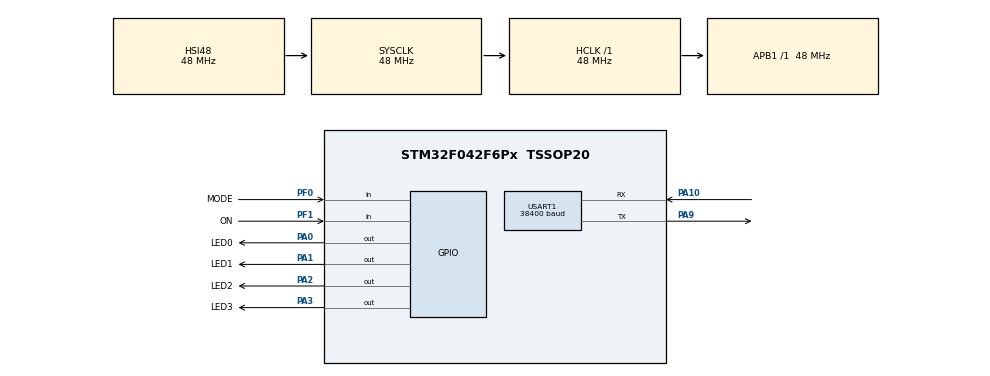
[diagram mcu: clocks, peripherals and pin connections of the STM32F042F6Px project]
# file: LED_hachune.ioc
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Mcu.Family=STM32F0
Mcu.Name=STM32F042F6Px
Mcu.Package=TSSOP20
PA0.GPIO_Label=LED0
PA0.GPIO_Speed=GPIO_SPEED_FREQ_HIGH
PA0.Signal=GPIO_Output
PA1.GPIO_Label=LED1
PA1.GPIO_Speed=GPIO_SPEED_FREQ_HIGH
PA1.Signal=GPIO_Output
PA10.Mode=Asynchronous
PA10.Signal=USART1_RX
PA13.Mode=Serial_Wire
PA13.Signal=SYS_SWDIO
PA14.Mode=Serial_Wire
PA14.Signal=SYS_SWCLK
PA2.GPIO_Label=LED2
PA2.GPIO_Speed=GPIO_SPEED_FREQ_HIGH
PA2.Signal=GPIO_Output
PA3.GPIO_Label=LED3
PA3.GPIO_Speed=GPIO_SPEED_FREQ_HIGH
PA3.Signal=GPIO_Output
PA9.Mode=Asynchronous
PA9.Signal=USART1_TX
PF0-OSC_IN.GPIO_Label=MODE
PF0-OSC_IN.GPIO_PuPd=GPIO_PULLUP
PF0-OSC_IN.Signal=GPIO_Input
PF1-OSC_OUT.GPIO_Label=ON
PF1-OSC_OUT.GPIO_PuPd=GPIO_PULLUP
PF1-OSC_OUT.Signal=GPIO_Input
ProjectManager.HeapSize=0x200
ProjectManager.StackSize=0x400
ProjectManager.TargetToolchain=TrueSTUDIO
RCC.AHBFreq_Value=48000000
RCC.APB1Freq_Value=48000000
RCC.APB1TimFreq_Value=48000000
RCC.HCLKFreq_Value=48000000
RCC.PLLSourceVirtual=RCC_PLLSOURCE_HSI48
RCC.SYSCLKFreq_VALUE=48000000
RCC.SYSCLKSource=RCC_SYSCLKSOURCE_HSI48
USART1.BaudRate=38400
USART1.VirtualMode=VM_ASYNC
board=custom

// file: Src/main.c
/**
  ******************************************************************************
  * @file           : main.c
  * @brief          : Main program body
  ******************************************************************************
  ** This notice applies to any and all portions of this file
  * that are not between comment pairs USER CODE BEGIN and
  * USER CODE END. Other portions of this file, whether
  * inserted by the user or by software development tools
  * are owned by their respective copyright owners.
  *
  * COPYRIGHT(c) 2019 STMicroelectronics
  *
  * Redistribution and use in source and binary forms, with or without modification,
  * are permitted provided that the following conditions are met:
  *   1. Redistributions of source code must retain the above copyright notice,
  *      this list of conditions and the following disclaimer.
  *   2. Redistributions in binary form must reproduce the above copyright notice,
  *      this list of conditions and the following disclaimer in the documentation
  *      and/or other materials provided with the distribution.
  *   3. Neither the name of STMicroelectronics nor the names of its contributors
  *      may be used to endorse or promote products derived from this software
  *      without specific prior written permission.
  *
  * THIS SOFTWARE IS PROVIDED BY THE COPYRIGHT HOLDERS AND CONTRIBUTORS "AS IS"
  * AND ANY EXPRESS OR IMPLIED WARRANTIES, INCLUDING, BUT NOT LIMITED TO, THE
  * IMPLIED WARRANTIES OF MERCHANTABILITY AND FITNESS FOR A PARTICULAR PURPOSE ARE
  * DISCLAIMED. IN NO EVENT SHALL THE COPYRIGHT HOLDER OR CONTRIBUTORS BE LIABLE
  * FOR ANY DIRECT, INDIRECT, INCIDENTAL, SPECIAL, EXEMPLARY, OR CONSEQUENTIAL
  * DAMAGES (INCLUDING, BUT NOT LIMITED TO, PROCUREMENT OF SUBSTITUTE GOODS OR
  * SERVICES; LOSS OF USE, DATA, OR PROFITS; OR BUSINESS INTERRUPTION) HOWEVER
  * CAUSED AND ON ANY THEORY OF LIABILITY, WHETHER IN CONTRACT, STRICT LIABILITY,
  * OR TORT (INCLUDING NEGLIGENCE OR OTHERWISE) ARISING IN ANY WAY OUT OF THE USE
  * OF THIS SOFTWARE, EVEN IF ADVISED OF THE POSSIBILITY OF SUCH DAMAGE.
  *
  ******************************************************************************
  */
#include "main.h"
#include "stm32f0xx_hal.h"

/* USER CODE BEGIN Includes */
#include <stdio.h>
#include "led_hachune.h"
/* USER CODE END Includes */

UART_HandleTypeDef huart1;

/* USER CODE BEGIN PV */
/* Private variables ---------------------------------------------------------*/
// 標準出力をUART1へ
#ifdef __GNUC__
#define PUTCHAR_PROTOTYPE int __io_putchar(int ch)
#else
#define PUTCHAR_PROTOTYPE int fputc(int ch, FILE *f)
#endif /* __GNUC__ */
void __io_putchar(uint8_t ch) {
	HAL_UART_Transmit(&huart1, &ch, 1, 1);
}

/* USER CODE END PV */

void SystemClock_Config(void);
static void MX_GPIO_Init(void);
static void MX_USART1_UART_Init(void);

/* USER CODE BEGIN PFP */
/* Private function prototypes -----------------------------------------------*/

/* USER CODE END PFP */

/* USER CODE BEGIN 0 */

//test_uart
void test_uart() {
	printf("Hello UART1!\n");
	uint8_t c;
	while (1) {
		if (HAL_UART_Receive(&huart1, &c, 1, 0xFFFF) == HAL_OK) {
			printf("UART1: %c\n", c);
		}
	}
}

/* USER CODE END 0 */

int main(void)
{

  /* MCU Configuration----------------------------------------------------------*/

  /* Reset of all peripherals, Initializes the Flash interface and the Systick. */
  HAL_Init();

  /* USER CODE BEGIN Init */
	setbuf(stdout, NULL);
  /* USER CODE END Init */

  /* Configure the system clock */
  SystemClock_Config();

  /* Initialize all configured peripherals */
  MX_GPIO_Init();
  MX_USART1_UART_Init();
  /* USER CODE BEGIN 2 */
	//test_uart();

	led_hachune_t hachune[3];
	led_hachune_t hachune_OFF;

	hachune_OFF.led[0] = get_color(0);
	hachune_OFF.led[1] = get_color(0);
	hachune_OFF.led[2] = get_color(0);
	hachune_OFF.led[3] = get_color(0);

	uint32_t i = 0;

  /* USER CODE END 2 */

  /* Infinite loop */
	while (1) {

  /* USER CODE BEGIN 3 */
		if (HAL_GPIO_ReadPin(ON_GPIO_Port, ON_Pin) == GPIO_PIN_SET) {
			if (HAL_GPIO_ReadPin(MODE_GPIO_Port, MODE_Pin) == GPIO_PIN_SET) {
				//ゲーミング仕様
				hachune[0].led[0] = get_hsv(i % 360, 255, 255);
				hachune[0].led[1] = get_hsv((i + 30) % 360, 255, 255);
				hachune[0].led[2] = get_color(0x000000);
				hachune[0].led[3] = get_color(0x000000);

				hachune[1].led[0] = get_hsv(i % 360, 255, 255);
				hachune[1].led[1] = get_color(0x000000);
				hachune[1].led[2] = get_hsv((i + 30) % 360, 255, 255);
				hachune[1].led[3] = get_color(0x000000);

				hachune[2].led[0] = get_hsv(i % 360, 255, 255);
				hachune[2].led[1] = get_color(0x000000);
				hachune[2].led[2] = get_color(0x000000);
				hachune[2].led[3] = get_hsv((i + 30) % 360, 255, 255);

				led_hachune(&hachune[(i / 45) % 4 != 3 ? (i / 45) % 4 : 1]);
			} else {
				//通常
				hachune[0].led[0] = get_color(0x00fa9a);
				hachune[0].led[1] = get_color(0x00FF00);
				hachune[0].led[2] = get_color(0x000000);
				hachune[0].led[3] = get_color(0x000000);

				hachune[1].led[0] = get_color(0x00fa9a);
				hachune[1].led[1] = get_color(0x000000);
				hachune[1].led[2] = get_color(0x00FF00);
				hachune[1].led[3] = get_color(0x000000);

				hachune[2].led[0] = get_color(0x00fa9a);
				hachune[2].led[1] = get_color(0x000000);
				hachune[2].led[2] = get_color(0x000000);
				hachune[2].led[3] = get_color(0x00FF00);

				led_hachune(&hachune[(i / 45) % 4 != 3 ? (i / 45) % 4 : 1]);
			}
		} else {
			led_hachune(&hachune_OFF);
		}
		i++;
		HAL_Delay(6);

	}
  /* USER CODE END 3 */

}

void SystemClock_Config(void)
{

  RCC_OscInitTypeDef RCC_OscInitStruct;
  RCC_ClkInitTypeDef RCC_ClkInitStruct;
  RCC_PeriphCLKInitTypeDef PeriphClkInit;

    /**Initializes the CPU, AHB and APB busses clocks
    */
  RCC_OscInitStruct.OscillatorType = RCC_OSCILLATORTYPE_HSI48;
  RCC_OscInitStruct.HSI48State = RCC_HSI48_ON;
  RCC_OscInitStruct.PLL.PLLState = RCC_PLL_NONE;
  if (HAL_RCC_OscConfig(&RCC_OscInitStruct) != HAL_OK)
  {
    _Error_Handler(__FILE__, __LINE__);
  }

    /**Initializes the CPU, AHB and APB busses clocks
    */
  RCC_ClkInitStruct.ClockType = RCC_CLOCKTYPE_HCLK|RCC_CLOCKTYPE_SYSCLK
                              |RCC_CLOCKTYPE_PCLK1;
  RCC_ClkInitStruct.SYSCLKSource = RCC_SYSCLKSOURCE_HSI48;
  RCC_ClkInitStruct.AHBCLKDivider = RCC_SYSCLK_DIV1;
  RCC_ClkInitStruct.APB1CLKDivider = RCC_HCLK_DIV1;

  if (HAL_RCC_ClockConfig(&RCC_ClkInitStruct, FLASH_LATENCY_1) != HAL_OK)
  {
    _Error_Handler(__FILE__, __LINE__);
  }

  PeriphClkInit.PeriphClockSelection = RCC_PERIPHCLK_USART1;
  PeriphClkInit.Usart1ClockSelection = RCC_USART1CLKSOURCE_PCLK1;
  if (HAL_RCCEx_PeriphCLKConfig(&PeriphClkInit) != HAL_OK)
  {
    _Error_Handler(__FILE__, __LINE__);
  }

    /**Configure the Systick interrupt time
    */
  HAL_SYSTICK_Config(HAL_RCC_GetHCLKFreq()/1000);

    /**Configure the Systick
    */
  HAL_SYSTICK_CLKSourceConfig(SYSTICK_CLKSOURCE_HCLK);

  /* SysTick_IRQn interrupt configuration */
  HAL_NVIC_SetPriority(SysTick_IRQn, 0, 0);
}

/* USART1 init function */
static void MX_USART1_UART_Init(void)
{

  huart1.Instance = USART1;
  huart1.Init.BaudRate = 38400;
  huart1.Init.WordLength = UART_WORDLENGTH_8B;
  huart1.Init.StopBits = UART_STOPBITS_1;
  huart1.Init.Parity = UART_PARITY_NONE;
  huart1.Init.Mode = UART_MODE_TX_RX;
  huart1.Init.HwFlowCtl = UART_HWCONTROL_NONE;
  huart1.Init.OverSampling = UART_OVERSAMPLING_16;
  huart1.Init.OneBitSampling = UART_ONE_BIT_SAMPLE_DISABLE;
  huart1.AdvancedInit.AdvFeatureInit = UART_ADVFEATURE_NO_INIT;
  if (HAL_UART_Init(&huart1) != HAL_OK)
  {
    _Error_Handler(__FILE__, __LINE__);
  }

}

/** Configure pins as
        * Analog
        * Input
        * Output
        * EVENT_OUT
        * EXTI
*/
static void MX_GPIO_Init(void)
{

  GPIO_InitTypeDef GPIO_InitStruct;

  /* GPIO Ports Clock Enable */
  __HAL_RCC_GPIOF_CLK_ENABLE();
  __HAL_RCC_GPIOA_CLK_ENABLE();

  /*Configure GPIO pin Output Level */
  HAL_GPIO_WritePin(GPIOA, LED0_Pin|LED1_Pin|LED2_Pin|LED3_Pin, GPIO_PIN_RESET);

  /*Configure GPIO pins : MODE_Pin ON_Pin */
  GPIO_InitStruct.Pin = MODE_Pin|ON_Pin;
  GPIO_InitStruct.Mode = GPIO_MODE_INPUT;
  GPIO_InitStruct.Pull = GPIO_PULLUP;
  HAL_GPIO_Init(GPIOF, &GPIO_InitStruct);

  /*Configure GPIO pins : LED0_Pin LED1_Pin LED2_Pin LED3_Pin */
  GPIO_InitStruct.Pin = LED0_Pin|LED1_Pin|LED2_Pin|LED3_Pin;
  GPIO_InitStruct.Mode = GPIO_MODE_OUTPUT_PP;
  GPIO_InitStruct.Pull = GPIO_NOPULL;
  GPIO_InitStruct.Speed = GPIO_SPEED_FREQ_HIGH;
  HAL_GPIO_Init(GPIOA, &GPIO_InitStruct);

}

void _Error_Handler(char *file, int line)
{
	while (1) {
	}
}

/************************ (C) COPYRIGHT STMicroelectronics *****END OF FILE****/
